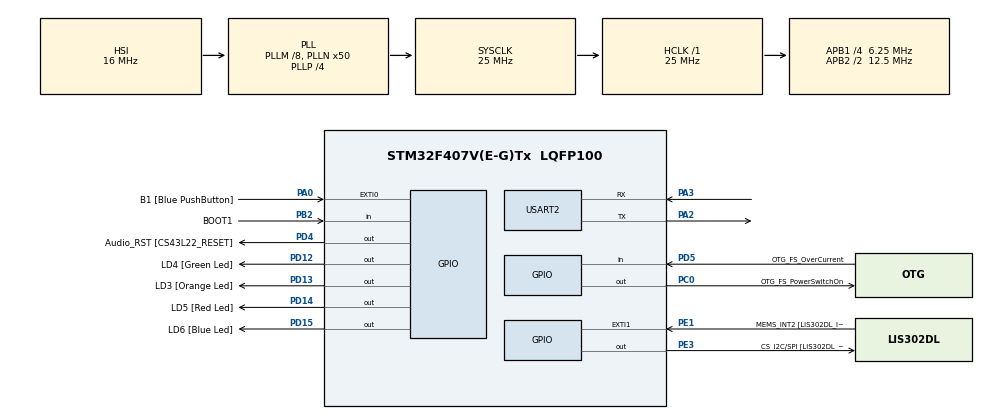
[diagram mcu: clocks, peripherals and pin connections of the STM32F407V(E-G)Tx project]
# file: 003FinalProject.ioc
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Mcu.Family=STM32F4
Mcu.Name=STM32F407V(E-G)Tx
Mcu.Package=LQFP100
NVIC.PriorityGroup=NVIC_PRIORITYGROUP_4
NVIC.TIM6_DAC_IRQn=true\:15\:0\:false\:false\:true\:false\:true
NVIC.TimeBase=TIM6_DAC_IRQn
NVIC.TimeBaseIP=TIM6
NVIC.USART2_IRQn=true\:6\:0\:true\:false\:true\:true\:true
PA0-WKUP.GPIO_Label=B1 [Blue PushButton]
PA0-WKUP.Signal=GPXTI0
PA10.GPIO_Label=OTG_FS_ID
PA10.GPIO_Mode=GPIO_MODE_AF_PP
PA10.GPIO_PuPd=GPIO_NOPULL
PA10.GPIO_Speed=GPIO_SPEED_FREQ_LOW
PA10.Signal=USB_OTG_FS_ID
PA11.GPIO_Label=OTG_FS_DM
PA11.GPIO_Mode=GPIO_MODE_AF_PP
PA11.GPIO_PuPd=GPIO_NOPULL
PA11.GPIO_Speed=GPIO_SPEED_FREQ_LOW
PA11.Signal=USB_OTG_FS_DM
PA12.GPIO_Label=OTG_FS_DP
PA12.GPIO_Mode=GPIO_MODE_AF_PP
PA12.GPIO_PuPd=GPIO_NOPULL
PA12.GPIO_Speed=GPIO_SPEED_FREQ_LOW
PA12.Signal=USB_OTG_FS_DP
PA13.GPIO_Label=SWDIO
PA13.Signal=SYS_JTMS-SWDIO
PA14.GPIO_Label=SWCLK
PA14.Signal=SYS_JTCK-SWCLK
PA2.Mode=Asynchronous
PA2.Signal=USART2_TX
PA3.Mode=Asynchronous
PA3.Signal=USART2_RX
PA4.GPIO_Label=I2S3_WS [CS43L22_LRCK]
PA4.GPIO_Mode=GPIO_MODE_AF_PP
PA4.GPIO_PuPd=GPIO_NOPULL
PA4.GPIO_Speed=GPIO_SPEED_FREQ_LOW
PA4.Signal=I2S3_WS
PA5.GPIO_Label=SPI1_SCK [LIS302DL_SCL/SPC]
PA5.GPIO_Mode=GPIO_MODE_AF_PP
PA5.GPIO_PuPd=GPIO_NOPULL
PA5.GPIO_Speed=GPIO_SPEED_FREQ_LOW
PA5.Signal=SPI1_SCK
PA6.GPIO_Label=SPI1_MISO [LIS302DL_SDO]
PA6.GPIO_Mode=GPIO_MODE_AF_PP
PA6.GPIO_PuPd=GPIO_NOPULL
PA6.GPIO_Speed=GPIO_SPEED_FREQ_LOW
PA6.Signal=SPI1_MISO
PA7.GPIO_Label=SPI1_MOSI [LIS302DL_SDA/SDI/SDO]
PA7.GPIO_Mode=GPIO_MODE_AF_PP
PA7.GPIO_PuPd=GPIO_NOPULL
PA7.GPIO_Speed=GPIO_SPEED_FREQ_LOW
PA7.Signal=SPI1_MOSI
PA9.GPIO_Label=VBUS_FS
PA9.GPIO_Mode=GPIO_MODE_INPUT
PA9.GPIO_PuPd=GPIO_NOPULL
PA9.Signal=USB_OTG_FS_VBUS
PB10.GPIO_Label=CLK_IN [MP45DT02_CLK]
PB10.GPIO_Mode=GPIO_MODE_AF_PP
PB10.GPIO_PuPd=GPIO_NOPULL
PB10.GPIO_Speed=GPIO_SPEED_FREQ_LOW
PB10.Signal=I2S2_CK
PB2.GPIO_Label=BOOT1
PB2.GPIO_Mode=GPIO_MODE_INPUT
PB2.GPIO_PuPd=GPIO_NOPULL
PB2.Signal=GPIO_Input
PB3.GPIO_Label=SWO
PB3.Signal=SYS_JTDO-SWO
PB6.GPIO_Label=Audio_SCL [CS43L22_SCL]
PB6.GPIO_Mode=GPIO_MODE_AF_OD
PB6.GPIO_PuPd=GPIO_NOPULL
PB6.GPIO_Speed=GPIO_SPEED_FREQ_LOW
PB6.Signal=I2C1_SCL
PB9.GPIO_Label=Audio_SDA [CS43L22_SDA]
PB9.GPIO_Mode=GPIO_MODE_AF_OD
PB9.GPIO_PuPd=GPIO_NOPULL
PB9.GPIO_Speed=GPIO_SPEED_FREQ_LOW
PB9.Signal=I2C1_SDA
PC0.GPIO_Label=OTG_FS_PowerSwitchOn
PC0.GPIO_PuPd=GPIO_NOPULL
PC0.GPIO_Speed=GPIO_SPEED_FREQ_LOW
PC0.PinState=GPIO_PIN_SET
PC0.Signal=GPIO_Output
PC10.GPIO_Label=I2S3_SCK [CS43L22_SCLK]
PC10.GPIO_Mode=GPIO_MODE_AF_PP
PC10.GPIO_PuPd=GPIO_NOPULL
PC10.GPIO_Speed=GPIO_SPEED_FREQ_LOW
PC10.Signal=I2S3_CK
PC12.GPIO_Label=I2S3_SD [CS43L22_SDIN]
PC12.GPIO_Mode=GPIO_MODE_AF_PP
PC12.GPIO_PuPd=GPIO_NOPULL
PC12.GPIO_Speed=GPIO_SPEED_FREQ_LOW
PC12.Signal=I2S3_SD
PC14-OSC32_IN.GPIO_Label=PC14-OSC32_IN
PC14-OSC32_IN.Signal=RCC_OSC32_IN
PC15-OSC32_OUT.GPIO_Label=PC15-OSC32_OUT
PC15-OSC32_OUT.Signal=RCC_OSC32_OUT
PC3.GPIO_Label=PDM_OUT [MP45DT02_DOUT]
PC3.GPIO_Mode=GPIO_MODE_AF_PP
PC3.GPIO_PuPd=GPIO_NOPULL
PC3.GPIO_Speed=GPIO_SPEED_FREQ_LOW
PC3.Signal=I2S2_SD
PC7.GPIO_Label=I2S3_MCK [CS43L22_MCLK]
PC7.GPIO_Mode=GPIO_MODE_AF_PP
PC7.GPIO_PuPd=GPIO_NOPULL
PC7.GPIO_Speed=GPIO_SPEED_FREQ_LOW
PC7.Signal=I2S3_MCK
PD12.GPIO_Label=LD4 [Green Led]
PD12.GPIO_PuPd=GPIO_NOPULL
PD12.GPIO_Speed=GPIO_SPEED_FREQ_LOW
PD12.Signal=GPIO_Output
PD13.GPIO_Label=LD3 [Orange Led]
PD13.GPIO_PuPd=GPIO_NOPULL
PD13.GPIO_Speed=GPIO_SPEED_FREQ_LOW
PD13.Signal=GPIO_Output
PD14.GPIO_Label=LD5 [Red Led]
PD14.GPIO_PuPd=GPIO_NOPULL
PD14.GPIO_Speed=GPIO_SPEED_FREQ_LOW
PD14.Signal=GPIO_Output
PD15.GPIO_Label=LD6 [Blue Led]
PD15.GPIO_PuPd=GPIO_NOPULL
PD15.GPIO_Speed=GPIO_SPEED_FREQ_LOW
PD15.Signal=GPIO_Output
PD4.GPIO_Label=Audio_RST [CS43L22_RESET]
PD4.GPIO_PuPd=GPIO_NOPULL
PD4.GPIO_Speed=GPIO_SPEED_FREQ_LOW
PD4.Signal=GPIO_Output
PD5.GPIO_Label=OTG_FS_OverCurrent
PD5.GPIO_Mode=GPIO_MODE_INPUT
PD5.GPIO_PuPd=GPIO_NOPULL
PD5.Signal=GPIO_Input
PE1.GPIO_Label=MEMS_INT2 [LIS302DL_INT2]
PE1.GPIO_ModeDefaultEXTI=GPIO_MODE_EVT_RISING
PE1.GPIO_PuPd=GPIO_NOPULL
PE1.Signal=GPXTI1
PE3.GPIO_Label=CS_I2C/SPI [LIS302DL_CS_I2C/SPI]
PE3.GPIO_PuPd=GPIO_NOPULL
PE3.GPIO_Speed=GPIO_SPEED_FREQ_LOW
PE3.Signal=GPIO_Output
PH0-OSC_IN.GPIO_Label=PH0-OSC_IN
PH0-OSC_IN.Signal=RCC_OSC_IN
PH1-OSC_OUT.GPIO_Label=PH1-OSC_OUT
PH1-OSC_OUT.Signal=RCC_OSC_OUT
ProjectManager.HeapSize=0x200
ProjectManager.StackSize=0x400
ProjectManager.TargetToolchain=STM32CubeIDE
RCC.48MHZClocksFreq_Value=14285714.285714285
RCC.AHBFreq_Value=25000000
RCC.APB1CLKDivider=RCC_HCLK_DIV4
RCC.APB1Freq_Value=6250000
RCC.APB1TimFreq_Value=12500000
RCC.APB2CLKDivider=RCC_HCLK_DIV2
RCC.APB2Freq_Value=12500000
RCC.APB2TimFreq_Value=25000000
RCC.CortexFreq_Value=25000000
RCC.HCLKFreq_Value=25000000
RCC.HSE_VALUE=8000000
RCC.HSI_VALUE=16000000
RCC.LSE_VALUE=32768
RCC.PLLM=8
RCC.PLLN=50
RCC.PLLP=RCC_PLLP_DIV4
RCC.PLLQ=7
RCC.SYSCLKFreq_VALUE=25000000
RCC.SYSCLKSource=RCC_SYSCLKSOURCE_PLLCLK
RCC.VCOOutputFreq_Value=100000000
RTC.HourFormat=RTC_HOURFORMAT_12
USART2.VirtualMode=VM_ASYNC
VP_RTC_VS_RTC_Activate.Mode=RTC_Enabled
VP_SYS_VS_tim6.Mode=TIM6
board=STM32F407G-DISC1

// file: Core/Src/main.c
/* USER CODE BEGIN Header */
/**
  ******************************************************************************
  * @file           : main.c
  * @brief          : Main program body
  ******************************************************************************
  * @attention
  *
  * Copyright (c) 2022 STMicroelectronics.
  * All rights reserved.
  *
  * This software is licensed under terms that can be found in the LICENSE file
  * in the root directory of this software component.
  * If no LICENSE file comes with this software, it is provided AS-IS.
  *
  ******************************************************************************
  */
/* USER CODE END Header */
#include "main.h"

RTC_HandleTypeDef hrtc;

UART_HandleTypeDef huart2;

/* USER CODE BEGIN PV */
//#define DWT_CTRL	(*(volatile uint32_t*)0XE0001000)

xTaskHandle handle_cmd_task;
xTaskHandle handle_menu_task;
xTaskHandle handle_print_task;
xTaskHandle handle_led_task;
//xTaskHandle handle_rtc_task;

xQueueHandle q_data;
xQueueHandle q_print;

TimerHandle_t handle_led_timer[4];

volatile uint8_t user_data;

state_t curr_state = sMainMenu;
/* USER CODE END PV */

void SystemClock_Config(void);
static void MX_GPIO_Init(void);
static void MX_RTC_Init(void);
static void MX_USART2_UART_Init(void);
/* USER CODE BEGIN PFP */
void led_effect_callback(TimerHandle_t xTimer);
/* USER CODE END PFP */

int main(void)
{
  /* USER CODE BEGIN 1 */
	BaseType_t status;
  /* USER CODE END 1 */

  /* MCU Configuration--------------------------------------------------------*/

  /* Reset of all peripherals, Initializes the Flash interface and the Systick. */
  HAL_Init();

  /* Configure the system clock */
  SystemClock_Config();

  /* Initialize all configured peripherals */
  MX_GPIO_Init();
  MX_RTC_Init();
  MX_USART2_UART_Init();
  /* USER CODE BEGIN 2 */
  // enable the CYCCNT counter.

  //DWT_CTRL |= (1 << 0);

  //SEGGER_SYSVIEW_Conf();
  //SEGGER_SYSVIEW_Start();
  status = xTaskCreate(menu_task, "menu_task", 250, NULL, 2, &handle_menu_task);

  configASSERT(status == pdPASS);

  status = xTaskCreate(cmd_handler_task, "cmd_task", 250, NULL, 2, &handle_cmd_task);

  configASSERT(status == pdPASS);

  status = xTaskCreate(print_task, "print_task", 250, NULL, 2, &handle_print_task);

  configASSERT(status == pdPASS);

  status = xTaskCreate(led_task, "led_task", 250, NULL, 2, &handle_led_task);

  configASSERT(status == pdPASS);

  /*status = xTaskCreate(rtc_task, "rtc_task", 250, NULL, 2, &handle_rtc_task);

  configASSERT(status == pdPASS); */

  q_data = xQueueCreate(10, sizeof(char));

  configASSERT(q_data != NULL);

  q_print = xQueueCreate(10, sizeof(size_t));

  configASSERT(q_print != NULL);

  // create software timers for LED effects
  for(uint8_t i = 0; i < 4; i++) {
	  handle_led_timer[i] = xTimerCreate("led_timer", pdMS_TO_TICKS(500), pdTRUE, (void*)(i + 1), led_effect_callback);
  }
  HAL_UART_Receive_IT(&huart2, (uint8_t*)&user_data, 1);
  // start the FreeRTOS scheduler
  vTaskStartScheduler();
  /* USER CODE END 2 */

  /* Infinite loop */
  while (1)
  {

  }
}

void SystemClock_Config(void)
{
  RCC_OscInitTypeDef RCC_OscInitStruct = {0};
  RCC_ClkInitTypeDef RCC_ClkInitStruct = {0};

  /** Configure the main internal regulator output voltage
  */
  __HAL_RCC_PWR_CLK_ENABLE();
  __HAL_PWR_VOLTAGESCALING_CONFIG(PWR_REGULATOR_VOLTAGE_SCALE1);
  /** Initializes the RCC Oscillators according to the specified parameters
  * in the RCC_OscInitTypeDef structure.
  */
  RCC_OscInitStruct.OscillatorType = RCC_OSCILLATORTYPE_HSI|RCC_OSCILLATORTYPE_LSI;
  RCC_OscInitStruct.HSIState = RCC_HSI_ON;
  RCC_OscInitStruct.HSICalibrationValue = RCC_HSICALIBRATION_DEFAULT;
  RCC_OscInitStruct.LSIState = RCC_LSI_ON;
  RCC_OscInitStruct.PLL.PLLState = RCC_PLL_ON;
  RCC_OscInitStruct.PLL.PLLSource = RCC_PLLSOURCE_HSI;
  RCC_OscInitStruct.PLL.PLLM = 8;
  RCC_OscInitStruct.PLL.PLLN = 50;
  RCC_OscInitStruct.PLL.PLLP = RCC_PLLP_DIV4;
  RCC_OscInitStruct.PLL.PLLQ = 7;
  if (HAL_RCC_OscConfig(&RCC_OscInitStruct) != HAL_OK)
  {
    Error_Handler();
  }
  /** Initializes the CPU, AHB and APB buses clocks
  */
  RCC_ClkInitStruct.ClockType = RCC_CLOCKTYPE_HCLK|RCC_CLOCKTYPE_SYSCLK
                              |RCC_CLOCKTYPE_PCLK1|RCC_CLOCKTYPE_PCLK2;
  RCC_ClkInitStruct.SYSCLKSource = RCC_SYSCLKSOURCE_PLLCLK;
  RCC_ClkInitStruct.AHBCLKDivider = RCC_SYSCLK_DIV1;
  RCC_ClkInitStruct.APB1CLKDivider = RCC_HCLK_DIV4;
  RCC_ClkInitStruct.APB2CLKDivider = RCC_HCLK_DIV2;

  if (HAL_RCC_ClockConfig(&RCC_ClkInitStruct, FLASH_LATENCY_0) != HAL_OK)
  {
    Error_Handler();
  }
}

static void MX_RTC_Init(void)
{

  /** Initialize RTC Only
  */
  hrtc.Instance = RTC;
  hrtc.Init.HourFormat = RTC_HOURFORMAT_12;
  hrtc.Init.AsynchPrediv = 127;
  hrtc.Init.SynchPrediv = 255;
  hrtc.Init.OutPut = RTC_OUTPUT_DISABLE;
  hrtc.Init.OutPutPolarity = RTC_OUTPUT_POLARITY_HIGH;
  hrtc.Init.OutPutType = RTC_OUTPUT_TYPE_OPENDRAIN;
  if (HAL_RTC_Init(&hrtc) != HAL_OK)
  {
    Error_Handler();
  }

}

static void MX_USART2_UART_Init(void)
{

  huart2.Instance = USART2;
  huart2.Init.BaudRate = 115200;
  huart2.Init.WordLength = UART_WORDLENGTH_8B;
  huart2.Init.StopBits = UART_STOPBITS_1;
  huart2.Init.Parity = UART_PARITY_NONE;
  huart2.Init.Mode = UART_MODE_TX_RX;
  huart2.Init.HwFlowCtl = UART_HWCONTROL_NONE;
  huart2.Init.OverSampling = UART_OVERSAMPLING_16;
  if (HAL_UART_Init(&huart2) != HAL_OK)
  {
    Error_Handler();
  }

}

static void MX_GPIO_Init(void)
{
  GPIO_InitTypeDef GPIO_InitStruct = {0};

  /* GPIO Ports Clock Enable */
  __HAL_RCC_GPIOE_CLK_ENABLE();
  __HAL_RCC_GPIOC_CLK_ENABLE();
  __HAL_RCC_GPIOH_CLK_ENABLE();
  __HAL_RCC_GPIOA_CLK_ENABLE();
  __HAL_RCC_GPIOB_CLK_ENABLE();
  __HAL_RCC_GPIOD_CLK_ENABLE();

  /*Configure GPIO pin Output Level */
  HAL_GPIO_WritePin(CS_I2C_SPI_GPIO_Port, CS_I2C_SPI_Pin, GPIO_PIN_RESET);

  /*Configure GPIO pin Output Level */
  HAL_GPIO_WritePin(OTG_FS_PowerSwitchOn_GPIO_Port, OTG_FS_PowerSwitchOn_Pin, GPIO_PIN_SET);

  /*Configure GPIO pin Output Level */
  HAL_GPIO_WritePin(GPIOD, LD4_Pin|LD3_Pin|LD5_Pin|LD6_Pin
                          |Audio_RST_Pin, GPIO_PIN_RESET);

  /*Configure GPIO pin : CS_I2C_SPI_Pin */
  GPIO_InitStruct.Pin = CS_I2C_SPI_Pin;
  GPIO_InitStruct.Mode = GPIO_MODE_OUTPUT_PP;
  GPIO_InitStruct.Pull = GPIO_NOPULL;
  GPIO_InitStruct.Speed = GPIO_SPEED_FREQ_LOW;
  HAL_GPIO_Init(CS_I2C_SPI_GPIO_Port, &GPIO_InitStruct);

  /*Configure GPIO pin : OTG_FS_PowerSwitchOn_Pin */
  GPIO_InitStruct.Pin = OTG_FS_PowerSwitchOn_Pin;
  GPIO_InitStruct.Mode = GPIO_MODE_OUTPUT_PP;
  GPIO_InitStruct.Pull = GPIO_NOPULL;
  GPIO_InitStruct.Speed = GPIO_SPEED_FREQ_LOW;
  HAL_GPIO_Init(OTG_FS_PowerSwitchOn_GPIO_Port, &GPIO_InitStruct);

  /*Configure GPIO pin : PDM_OUT_Pin */
  GPIO_InitStruct.Pin = PDM_OUT_Pin;
  GPIO_InitStruct.Mode = GPIO_MODE_AF_PP;
  GPIO_InitStruct.Pull = GPIO_NOPULL;
  GPIO_InitStruct.Speed = GPIO_SPEED_FREQ_LOW;
  GPIO_InitStruct.Alternate = GPIO_AF5_SPI2;
  HAL_GPIO_Init(PDM_OUT_GPIO_Port, &GPIO_InitStruct);

  /*Configure GPIO pin : B1_Pin */
  GPIO_InitStruct.Pin = B1_Pin;
  GPIO_InitStruct.Mode = GPIO_MODE_IT_RISING;
  GPIO_InitStruct.Pull = GPIO_NOPULL;
  HAL_GPIO_Init(B1_GPIO_Port, &GPIO_InitStruct);

  /*Configure GPIO pin : I2S3_WS_Pin */
  GPIO_InitStruct.Pin = I2S3_WS_Pin;
  GPIO_InitStruct.Mode = GPIO_MODE_AF_PP;
  GPIO_InitStruct.Pull = GPIO_NOPULL;
  GPIO_InitStruct.Speed = GPIO_SPEED_FREQ_LOW;
  GPIO_InitStruct.Alternate = GPIO_AF6_SPI3;
  HAL_GPIO_Init(I2S3_WS_GPIO_Port, &GPIO_InitStruct);

  /*Configure GPIO pins : SPI1_SCK_Pin SPI1_MISO_Pin SPI1_MOSI_Pin */
  GPIO_InitStruct.Pin = SPI1_SCK_Pin|SPI1_MISO_Pin|SPI1_MOSI_Pin;
  GPIO_InitStruct.Mode = GPIO_MODE_AF_PP;
  GPIO_InitStruct.Pull = GPIO_NOPULL;
  GPIO_InitStruct.Speed = GPIO_SPEED_FREQ_LOW;
  GPIO_InitStruct.Alternate = GPIO_AF5_SPI1;
  HAL_GPIO_Init(GPIOA, &GPIO_InitStruct);

  /*Configure GPIO pin : BOOT1_Pin */
  GPIO_InitStruct.Pin = BOOT1_Pin;
  GPIO_InitStruct.Mode = GPIO_MODE_INPUT;
  GPIO_InitStruct.Pull = GPIO_NOPULL;
  HAL_GPIO_Init(BOOT1_GPIO_Port, &GPIO_InitStruct);

  /*Configure GPIO pin : CLK_IN_Pin */
  GPIO_InitStruct.Pin = CLK_IN_Pin;
  GPIO_InitStruct.Mode = GPIO_MODE_AF_PP;
  GPIO_InitStruct.Pull = GPIO_NOPULL;
  GPIO_InitStruct.Speed = GPIO_SPEED_FREQ_LOW;
  GPIO_InitStruct.Alternate = GPIO_AF5_SPI2;
  HAL_GPIO_Init(CLK_IN_GPIO_Port, &GPIO_InitStruct);

  /*Configure GPIO pins : LD4_Pin LD3_Pin LD5_Pin LD6_Pin
                           Audio_RST_Pin */
  GPIO_InitStruct.Pin = LD4_Pin|LD3_Pin|LD5_Pin|LD6_Pin
                          |Audio_RST_Pin;
  GPIO_InitStruct.Mode = GPIO_MODE_OUTPUT_PP;
  GPIO_InitStruct.Pull = GPIO_NOPULL;
  GPIO_InitStruct.Speed = GPIO_SPEED_FREQ_LOW;
  HAL_GPIO_Init(GPIOD, &GPIO_InitStruct);

  /*Configure GPIO pins : I2S3_MCK_Pin I2S3_SCK_Pin I2S3_SD_Pin */
  GPIO_InitStruct.Pin = I2S3_MCK_Pin|I2S3_SCK_Pin|I2S3_SD_Pin;
  GPIO_InitStruct.Mode = GPIO_MODE_AF_PP;
  GPIO_InitStruct.Pull = GPIO_NOPULL;
  GPIO_InitStruct.Speed = GPIO_SPEED_FREQ_LOW;
  GPIO_InitStruct.Alternate = GPIO_AF6_SPI3;
  HAL_GPIO_Init(GPIOC, &GPIO_InitStruct);

  /*Configure GPIO pin : VBUS_FS_Pin */
  GPIO_InitStruct.Pin = VBUS_FS_Pin;
  GPIO_InitStruct.Mode = GPIO_MODE_INPUT;
  GPIO_InitStruct.Pull = GPIO_NOPULL;
  HAL_GPIO_Init(VBUS_FS_GPIO_Port, &GPIO_InitStruct);

  /*Configure GPIO pins : OTG_FS_ID_Pin OTG_FS_DM_Pin OTG_FS_DP_Pin */
  GPIO_InitStruct.Pin = OTG_FS_ID_Pin|OTG_FS_DM_Pin|OTG_FS_DP_Pin;
  GPIO_InitStruct.Mode = GPIO_MODE_AF_PP;
  GPIO_InitStruct.Pull = GPIO_NOPULL;
  GPIO_InitStruct.Speed = GPIO_SPEED_FREQ_LOW;
  GPIO_InitStruct.Alternate = GPIO_AF10_OTG_FS;
  HAL_GPIO_Init(GPIOA, &GPIO_InitStruct);

  /*Configure GPIO pin : OTG_FS_OverCurrent_Pin */
  GPIO_InitStruct.Pin = OTG_FS_OverCurrent_Pin;
  GPIO_InitStruct.Mode = GPIO_MODE_INPUT;
  GPIO_InitStruct.Pull = GPIO_NOPULL;
  HAL_GPIO_Init(OTG_FS_OverCurrent_GPIO_Port, &GPIO_InitStruct);

  /*Configure GPIO pins : Audio_SCL_Pin Audio_SDA_Pin */
  GPIO_InitStruct.Pin = Audio_SCL_Pin|Audio_SDA_Pin;
  GPIO_InitStruct.Mode = GPIO_MODE_AF_OD;
  GPIO_InitStruct.Pull = GPIO_NOPULL;
  GPIO_InitStruct.Speed = GPIO_SPEED_FREQ_LOW;
  GPIO_InitStruct.Alternate = GPIO_AF4_I2C1;
  HAL_GPIO_Init(GPIOB, &GPIO_InitStruct);

  /*Configure GPIO pin : MEMS_INT2_Pin */
  GPIO_InitStruct.Pin = MEMS_INT2_Pin;
  GPIO_InitStruct.Mode = GPIO_MODE_EVT_RISING;
  GPIO_InitStruct.Pull = GPIO_NOPULL;
  HAL_GPIO_Init(MEMS_INT2_GPIO_Port, &GPIO_InitStruct);

}

/* USER CODE BEGIN 4 */
void led_effect_callback(TimerHandle_t xTimer) {
	int id;
	id = (uint32_t)pvTimerGetTimerID(xTimer);
	switch(id) {
	case 1:
		LED_effect1();
		break;
	case 2:
		LED_effect2();
		break;
	case 3:
		LED_effect3();
		break;
	case 4:
		LED_effect4();
		break;
	}
}
void HAL_UART_RxCpltCallback(UART_HandleTypeDef *huart)
{
	uint8_t dummy;
	// make small delay
	//for(int i = 0; i < 4000; i++);
	if(!xQueueIsQueueFullFromISR(q_data)) {

		// enqueue data byte
		xQueueSendFromISR(q_data, (void*)&user_data, NULL);
	}
	else {
		if(user_data == '\n') {
			// make sure that last data byte of the queue is '\n'
			xQueueReceiveFromISR(q_data, (void*)&dummy, NULL);
			xQueueSendFromISR(q_data, (void*)&user_data, NULL);
		}
	}

	// send notification to command handling task if user data is '\n'
	if(user_data == '\n') {
		xTaskNotifyFromISR(handle_cmd_task, 0, eNoAction, NULL);
	}

	// Enable UART data byte reception again in IT mode
	HAL_UART_Receive_IT(&huart2, (uint8_t*)&user_data, 1);
}
/* USER CODE END 4 */

void HAL_TIM_PeriodElapsedCallback(TIM_HandleTypeDef *htim)
{
  if (htim->Instance == TIM6) {
    HAL_IncTick();
  }
}

void Error_Handler(void)
{
  __disable_irq();
  while (1)
  {
  }
}
